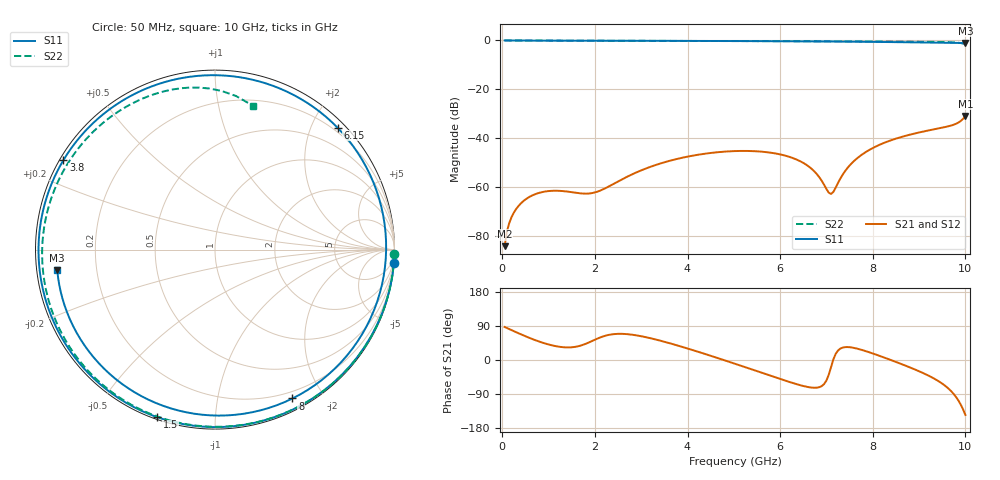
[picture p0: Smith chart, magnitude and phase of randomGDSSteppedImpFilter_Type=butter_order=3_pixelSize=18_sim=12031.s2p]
! freq	dB(S11)	phase(S11)	dB(S12)	phase(S12)
!  dB(S21)	phase(S21)	dB(S22)	phase(S22)
!S-par simulation data
#  GHz  S  DB  R 50
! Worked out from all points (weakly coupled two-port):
!   200 points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, 50 MHz to 10 GHz, reference 50 ohm
!   highest |S21| = -30.96 dB at 10 GHz (marker M1); lowest = -84.3 dB at 50 MHz (marker M2)
!   lowest |S11| = -1.0 dB at 10 GHz (marker M3), VSWR 16.58, Z = 3.03 - j3.22 ohm
!   |S11| at or under -10 dB: nowhere
!   |S22| runs from -1.6 to 0.0 dB; largest |S21 - S12| = 0
!   S11 on the Smith chart (normalised r, x): 50 MHz: 0, -27; 1.5 GHz: 0.01, -0.71; 3.8 GHz: 0.01, +0.27; 6.15 GHz: 0.13, +2.42; 8 GHz: 0.12, -1.64; 10 GHz: 0.06, -0.06
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0.05  -0.00 -4.2  -84.31 87.2  -84.31 87.2  -0.00 -1.5
0.25  -0.03 -20.9  -70.54 76.0  -70.54 76.0  -0.01 -7.6
0.55  -0.06 -44.9  -64.53 60.1  -64.53 60.1  -0.02 -16.5
1  -0.09 -77.8  -61.71 40.9  -61.71 40.9  -0.04 -29.9
1.5  -0.11 -108.9  -62.19 33.6  -62.19 33.6  -0.06 -44.4
1.75  -0.12 -122.6  -62.76 40.3  -62.76 40.3  -0.06 -51.5
2.55  -0.14 -160.4  -57.27 69.1  -57.27 69.1  -0.09 -73.4
3.4  -0.16 165.1  -50.50 51.4  -50.50 51.4  -0.12 -95.4
3.8  -0.17 149.5  -48.43 37.7  -48.43 37.7  -0.13 -105.3
4.45  -0.20 123.6  -46.22 13.1  -46.22 13.1  -0.16 -120.9
5.05  -0.24 98.2  -45.32 -10.9  -45.32 -10.9  -0.19 -134.8
5.6  -0.28 72.8  -45.57 -33.5  -45.57 -33.5  -0.22 -147.3
6.15  -0.33 44.9  -47.42 -56.0  -47.42 -56.0  -0.26 -159.8
6.7  -0.38 14.5  -52.96 -73.0  -52.96 -73.0  -0.30 -172.3
7.1  -0.43 -8.9  -62.91 -18.1  -62.91 -18.1  -0.33 178.4
7.5  -0.49 -32.7  -51.24 33.8  -51.24 33.8  -0.37 168.9
8  -0.58 -62.5  -44.09 17.2  -44.09 17.2  -0.41 156.6
8.35  -0.66 -82.9  -41.21 1.8  -41.21 1.8  -0.45 147.6
8.85  -0.76 -111.2  -38.38 -21.9  -38.38 -21.9  -0.51 133.7
9.45  -0.90 -143.7  -35.94 -58.2  -35.94 -58.2  -0.62 113.6
9.8  -0.99 -162.2  -34.13 -98.1  -34.13 -98.1  -0.84 95.7
10  -1.05 -172.6  -30.96 -145.0  -30.96 -145.0  -1.62 75.4
